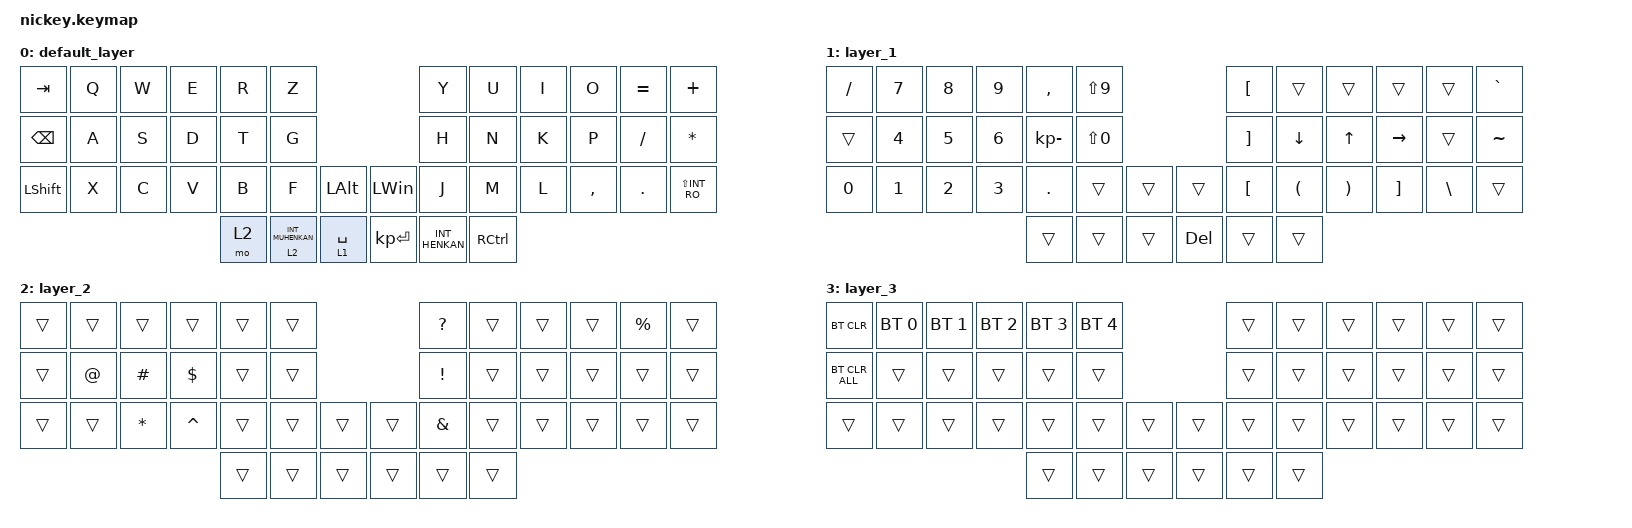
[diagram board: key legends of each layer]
#include <input/processors.dtsi>
#include <dt-bindings/zmk/input_transform.h>
#include <zephyr/dt-bindings/input/input-event-codes.h>
#include <behaviors.dtsi>
#include <dt-bindings/zmk/bt.h>
#include <dt-bindings/zmk/keys.h>
#include <dt-bindings/zmk/pointing.h>

&mt {
    flavor = "balanced";
    quick-tap-ms = <0>;
};

&lt {
    quick-tap-ms = <300>;
    flavor = "balanced";
};

/ {
    combos { compatible = "zmk,combos"; };

    macros {
        to_layer_0: to_layer_0 {
            compatible = "zmk,behavior-macro-one-param";
            #binding-cells = <1>;
            bindings = <&to 0 &macro_param_1to1 &kp MACRO_PLACEHOLDER>;
            label = "TO_LAYER_0";
        };
    };

    behaviors {
        lt_to_layer_0: lt_to_layer_0 {
            compatible = "zmk,behavior-hold-tap";
            label = "LAYER_TAP_TO_0";
            bindings = <&mo>, <&to_layer_0>;

            #binding-cells = <2>;
            tapping-term-ms = <200>;
        };

        scroll_up_down: mouse_wheel_up_down {
            compatible = "zmk,behavior-sensor-rotate";
            #sensor-binding-cells = <0>;
            bindings = <&msc SCRL_DOWN>, <&msc SCRL_UP>;

            tap-ms = <20>;
        };

        scroll_right_left: mouse_wheel_right_left {
            compatible = "zmk,behavior-sensor-rotate";
            #sensor-binding-cells = <0>;
            bindings = <&msc SCRL_LEFT>, <&msc SCRL_RIGHT>;

            tap-ms = <20>;
        };
    };

    keymap {
        compatible = "zmk,keymap";

        default_layer {
            bindings = <
&kp TAB        &kp Q  &kp W  &kp E  &kp R  &kp Z                                             &kp Y           &kp U              &kp I  &kp O      &kp EQUAL  &kp PLUS
&kp BACKSPACE  &kp A  &kp S  &kp D  &kp T  &kp G                                             &kp H           &kp N              &kp K  &kp P      &kp SLASH  &kp ASTERISK
&kp LSHFT      &kp X  &kp C  &kp V  &kp B  &kp F               &kp LEFT_ALT    &kp LEFT_WIN  &kp J           &kp M              &kp L  &kp COMMA  &kp DOT    &kp LS(INT_RO)
                                    &mo 2  &lt 2 INT_MUHENKAN  &lt 1 SPACE     &kp KP_ENTER  &kp INT_HENKAN  &kp RIGHT_CONTROL
            >;
        };

        layer_1 {
            bindings = <
&kp SLASH     &kp NUMBER_7  &kp NUMBER_8  &kp NUMBER_9  &kp COMMA     &kp LS(N9)                        &kp LBKT          &trans                &trans                 &trans             &trans         &kp GRAVE
&trans        &kp NUMBER_4  &kp NUMBER_5  &kp NUMBER_6  &kp KP_MINUS  &kp LS(N0)                        &kp RBKT          &kp DOWN              &kp UP                 &kp RIGHT          &trans         &kp TILDE
&kp NUMBER_0  &kp NUMBER_1  &kp NUMBER_2  &kp NUMBER_3  &kp DOT       &trans      &trans    &trans      &kp LEFT_BRACKET  &kp LEFT_PARENTHESIS  &kp RIGHT_PARENTHESIS  &kp RIGHT_BRACKET  &kp BACKSLASH  &trans
                                                        &trans        &trans      &trans    &kp DELETE  &trans            &trans
            >;
        };

        layer_2 {
            bindings = <
&trans  &trans  &trans     &trans      &trans  &trans                    &kp QUESTION   &trans  &trans  &trans  &kp PERCENT  &trans
&trans  &kp AT  &kp HASH   &kp DOLLAR  &trans  &trans                    &kp EXCL       &trans  &trans  &trans  &trans       &trans
&trans  &trans  &kp ASTRK  &kp CARET   &trans  &trans  &trans    &trans  &kp AMPERSAND  &trans  &trans  &trans  &trans       &trans
                                       &trans  &trans  &trans    &trans  &trans         &trans
            >;
        };

        layer_3 {
            bindings = <
&bt BT_CLR      &bt BT_SEL 0  &bt BT_SEL 1  &bt BT_SEL 2  &bt BT_SEL 3  &bt BT_SEL 4                    &trans  &trans  &trans  &trans  &trans  &trans
&bt BT_CLR_ALL  &trans        &trans        &trans        &trans        &trans                          &trans  &trans  &trans  &trans  &trans  &trans
&trans          &trans        &trans        &trans        &trans        &trans        &trans    &trans  &trans  &trans  &trans  &trans  &trans  &trans
                                                          &trans        &trans        &trans    &trans  &trans  &trans
            >;
        };
    };
};
